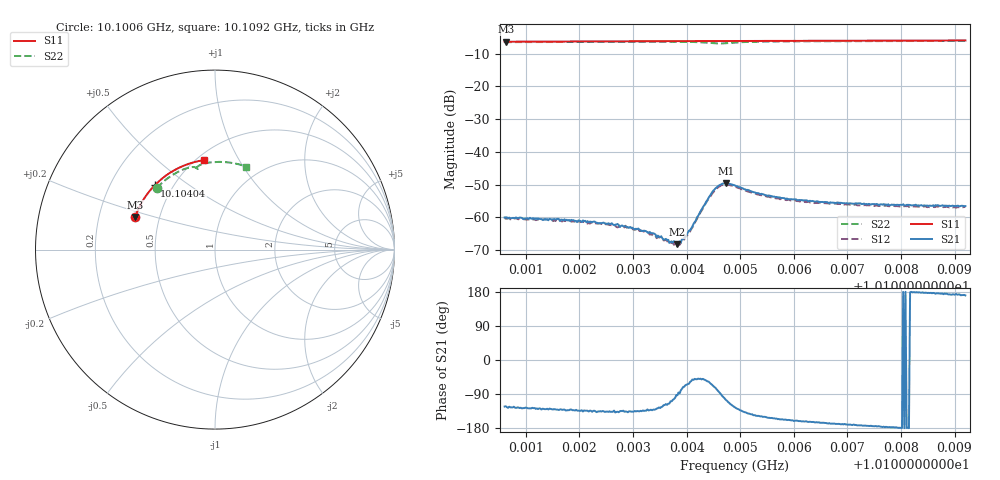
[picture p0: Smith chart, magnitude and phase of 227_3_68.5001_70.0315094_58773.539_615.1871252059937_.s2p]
#  HZ  S  RI  R  50.00
! Rohde & Schwarz Vector Network Analyzer
! Rohde-Schwarz,ZNB20-2Port,1311601062101988,3.16
! Created: UTC 3/20/2024, 4:58:48 PM
! freq[Hz]  re:S11  im:S11  re:S21  im:S21  re:S12  im:S12  re:S22  im:S22
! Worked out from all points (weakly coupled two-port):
!   401 points, 10.1006 GHz to 10.1092 GHz, reference 50 ohm
!   highest |S21| = -49.56 dB at 10.10473 GHz (marker M1); lowest = -68.2 dB at 10.10383 GHz (marker M2)
!   lowest |S11| = -6.4 dB at 10.10062 GHz (marker M3), VSWR 2.85, Z = 18.1 + j8.58 ohm
!   |S11| at or under -10 dB: nowhere
!   |S22| runs from -6.9 to -6.1 dB; largest |S21 - S12| = 0.00033
!   S11 on the Smith chart (normalised r, x): 10.1006 GHz: 0.36, +0.17; 10.10404 GHz: 0.40, +0.37; 10.1092 GHz: 0.54, +0.72
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1.0100602e10  -0.4453 0.1808  -0.000538 -0.000838  -0.000476 -0.000819  -0.3239 0.3449
1.0100624e10  -0.4447 0.182  -0.000528 -0.000846  -0.000487 -0.00083  -0.3229 0.3461
1.0102043e10  -0.4093 0.2607  -0.000573 -0.000627  -0.000552 -0.00066  -0.2526 0.4052
1.010258e10  -0.392 0.2886  -0.000577 -0.00054  -0.000502 -0.000574  -0.2229 0.4239
1.0102903e10  -0.3811 0.3047  -0.000525 -0.000474  -0.00048 -0.000517  -0.2039 0.4341
1.0103354e10  -0.3643 0.3266  -0.00039 -0.000424  -0.000331 -0.000428  -0.1761 0.4469
1.0103483e10  -0.3593 0.3326  -0.000294 -0.000415  -0.000268 -0.000425  -0.1677 0.4501
1.0103698e10  -0.3507 0.3424  -0.000138 -0.000399  -9.66e-05 -0.000398  -0.1532 0.4549
1.0103827e10  -0.3454 0.3482  -2.08e-05 -0.000387  4.62e-06 -0.000363  -0.144 0.4573
1.010387e10  -0.3438 0.3502  1.48e-05 -0.00043  6.04e-05 -0.000377  -0.1409 0.4579
1.0103913e10  -0.342 0.3521  0.000113 -0.000454  0.000118 -0.000397  -0.1376 0.4586
1.0104042e10  -0.3365 0.3577  0.000286 -0.000556  0.000344 -0.000471  -0.1276 0.4598
1.0104365e10  -0.3225 0.3714  0.00102 -0.00141  0.0011 -0.00128  -0.1018 0.4542
1.0104494e10  -0.3169 0.3768  0.000943 -0.00237  0.00108 -0.00214  -0.0964 0.4463
1.0104602e10  -0.312 0.3811  0.000315 -0.00305  0.00055 -0.00288  -0.0987 0.4409
1.0104731e10  -0.3063 0.386  -0.000861 -0.00321  -0.000563 -0.00312  -0.1041 0.4438
1.0104903e10  -0.2985 0.3928  -0.00176 -0.00251  -0.00147 -0.00254  -0.1022 0.456
1.0105483e10  -0.2707 0.4144  -0.00191 -0.00106  -0.00173 -0.00118  -0.0643 0.4784
1.0105892e10  -0.2501 0.4283  -0.00176 -0.000705  -0.00167 -0.00085  -0.0363 0.4845
1.0106343e10  -0.2265 0.4422  -0.00171 -0.000503  -0.00157 -0.000609  -0.00601 0.4878
1.0107784e10  -0.1471 0.4778  -0.00153 -8.03e-05  -0.00146 -0.000225  0.0871 0.484
1.0109203e10  -0.0638 0.4984  -0.00147 0.000248  -0.00144 5.69e-05  0.1753 0.4626
